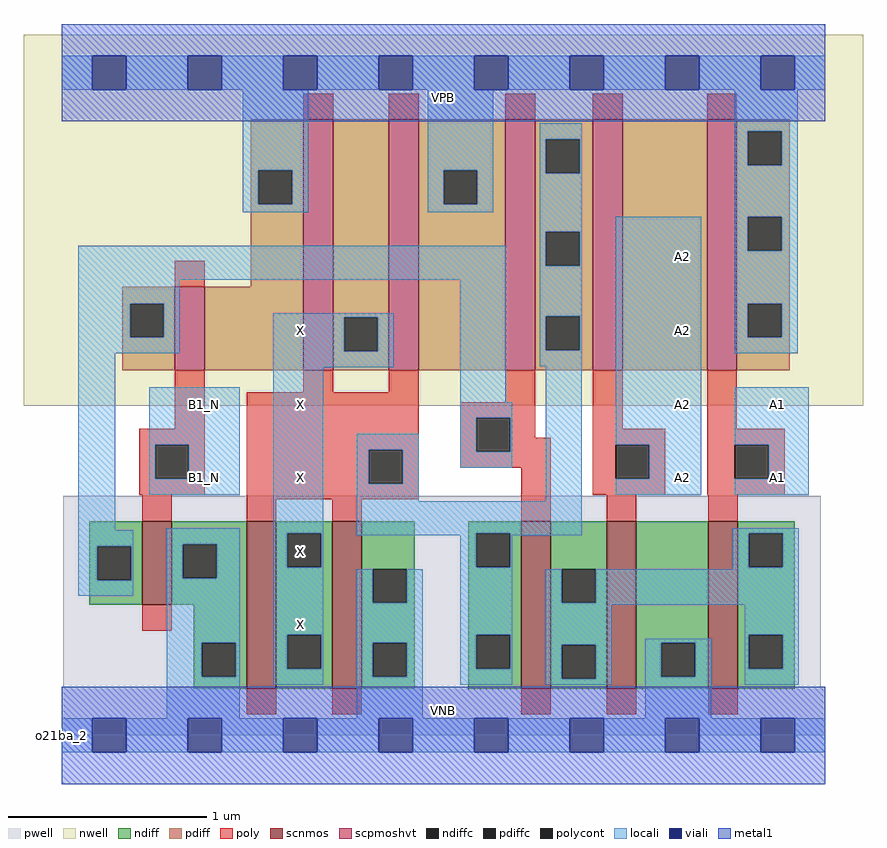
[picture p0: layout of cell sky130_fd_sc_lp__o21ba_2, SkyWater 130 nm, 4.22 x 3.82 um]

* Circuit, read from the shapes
.subckt sky130_fd_sc_lp__o21ba_2 A1 A2 B1_N VGND VNB VPB VPWR X
XM1 VGND B1_N n1 VNB sky130_fd_pr__nfet_01v8 w=0.42 l=0.15
XM2 X n2 VGND VNB sky130_fd_pr__nfet_01v8 w=0.84 l=0.15 m=2
XM3 n3 n1 n2 VNB sky130_fd_pr__nfet_01v8 w=0.84 l=0.15
XM4 VGND A2 n3 VNB sky130_fd_pr__nfet_01v8 w=0.84 l=0.15
XM5 n3 A1 VGND VNB sky130_fd_pr__nfet_01v8 w=0.84 l=0.15
XM6 VPWR B1_N n1 VPB sky130_fd_pr__pfet_01v8_hvt w=0.42 l=0.15
XM7 X n2 VPWR VPB sky130_fd_pr__pfet_01v8_hvt w=1.26 l=0.15 m=2
XM8 n2 n1 VPWR VPB sky130_fd_pr__pfet_01v8_hvt w=1.26 l=0.15
XM9 n4 A2 n2 VPB sky130_fd_pr__pfet_01v8_hvt w=1.26 l=0.15
XM10 VPWR A1 n4 VPB sky130_fd_pr__pfet_01v8_hvt w=1.26 l=0.15
.ends

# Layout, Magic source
magic
tech sky130A
magscale 1 2
<< nwell >>
rect -38 331 806 704
<< pwell >>
rect 2 49 763 241
rect 0 0 768 49
<< scnmos >>
rect 81 131 111 215
rect 186 47 216 215
rect 272 47 302 215
rect 462 47 492 215
rect 548 47 578 215
rect 650 47 680 215
<< scpmoshvt >>
rect 114 367 144 451
rect 243 367 273 619
rect 329 367 359 619
rect 446 367 476 619
rect 534 367 564 619
rect 649 367 679 619
<< ndiff >>
rect 28 190 81 215
rect 28 156 36 190
rect 70 156 81 190
rect 28 131 81 156
rect 111 192 186 215
rect 111 158 122 192
rect 156 158 186 192
rect 111 131 186 158
rect 133 93 186 131
rect 133 59 141 93
rect 175 59 186 93
rect 133 47 186 59
rect 216 203 272 215
rect 216 169 227 203
rect 261 169 272 203
rect 216 101 272 169
rect 216 67 227 101
rect 261 67 272 101
rect 216 47 272 67
rect 302 167 355 215
rect 302 133 313 167
rect 347 133 355 167
rect 302 93 355 133
rect 302 59 313 93
rect 347 59 355 93
rect 302 47 355 59
rect 409 203 462 215
rect 409 169 417 203
rect 451 169 462 203
rect 409 101 462 169
rect 409 67 417 101
rect 451 67 462 101
rect 409 47 462 67
rect 492 167 548 215
rect 492 133 503 167
rect 537 133 548 167
rect 492 91 548 133
rect 492 57 503 91
rect 537 57 548 91
rect 492 47 548 57
rect 578 93 650 215
rect 578 59 603 93
rect 637 59 650 93
rect 578 47 650 59
rect 680 203 737 215
rect 680 169 691 203
rect 725 169 737 203
rect 680 101 737 169
rect 680 67 691 101
rect 725 67 737 101
rect 680 47 737 67
<< pdiff >>
rect 190 568 243 619
rect 190 534 198 568
rect 232 534 243 568
rect 190 451 243 534
rect 61 434 114 451
rect 61 400 69 434
rect 103 400 114 434
rect 61 367 114 400
rect 144 367 243 451
rect 273 420 329 619
rect 273 386 284 420
rect 318 386 329 420
rect 273 367 329 386
rect 359 568 446 619
rect 359 534 384 568
rect 418 534 446 568
rect 359 367 446 534
rect 476 599 534 619
rect 476 565 487 599
rect 521 565 534 599
rect 476 506 534 565
rect 476 472 487 506
rect 521 472 534 506
rect 476 421 534 472
rect 476 387 487 421
rect 521 387 534 421
rect 476 367 534 387
rect 564 367 649 619
rect 679 607 732 619
rect 679 573 690 607
rect 724 573 732 607
rect 679 521 732 573
rect 679 487 690 521
rect 724 487 732 521
rect 679 434 732 487
rect 679 400 690 434
rect 724 400 732 434
rect 679 367 732 400
<< ndiffc >>
rect 36 156 70 190
rect 122 158 156 192
rect 141 59 175 93
rect 227 169 261 203
rect 227 67 261 101
rect 313 133 347 167
rect 313 59 347 93
rect 417 169 451 203
rect 417 67 451 101
rect 503 133 537 167
rect 503 57 537 91
rect 603 59 637 93
rect 691 169 725 203
rect 691 67 725 101
<< pdiffc >>
rect 198 534 232 568
rect 69 400 103 434
rect 284 386 318 420
rect 384 534 418 568
rect 487 565 521 599
rect 487 472 521 506
rect 487 387 521 421
rect 690 573 724 607
rect 690 487 724 521
rect 690 400 724 434
<< poly >>
rect 243 619 273 645
rect 329 619 359 645
rect 446 619 476 645
rect 534 619 564 645
rect 649 619 679 645
rect 114 451 144 477
rect 114 308 144 367
rect 243 345 273 367
rect 329 345 359 367
rect 78 292 144 308
rect 78 258 94 292
rect 128 258 144 292
rect 78 242 144 258
rect 186 287 359 345
rect 446 335 476 367
rect 186 253 309 287
rect 343 253 359 287
rect 401 319 476 335
rect 401 285 417 319
rect 451 299 476 319
rect 534 308 564 367
rect 649 308 679 367
rect 451 285 492 299
rect 401 269 492 285
rect 81 215 111 242
rect 186 237 359 253
rect 186 215 216 237
rect 272 215 302 237
rect 462 215 492 269
rect 534 292 607 308
rect 534 258 557 292
rect 591 258 607 292
rect 534 242 607 258
rect 649 292 727 308
rect 649 258 677 292
rect 711 258 727 292
rect 649 242 727 258
rect 548 215 578 242
rect 650 215 680 242
rect 81 105 111 131
rect 186 21 216 47
rect 272 21 302 47
rect 462 21 492 47
rect 548 21 578 47
rect 650 21 680 47
<< polycont >>
rect 94 258 128 292
rect 309 253 343 287
rect 417 285 451 319
rect 557 258 591 292
rect 677 258 711 292
<< locali >>
rect 0 649 31 683
rect 65 649 127 683
rect 161 649 223 683
rect 257 649 319 683
rect 353 649 415 683
rect 449 649 511 683
rect 545 649 607 683
rect 641 649 703 683
rect 737 649 768 683
rect 182 568 248 649
rect 182 534 198 568
rect 232 534 248 568
rect 182 526 248 534
rect 368 568 434 649
rect 368 534 384 568
rect 418 534 434 568
rect 368 526 434 534
rect 481 599 523 615
rect 481 565 487 599
rect 521 565 523 599
rect 481 506 523 565
rect 677 607 740 649
rect 677 573 690 607
rect 724 573 740 607
rect 677 521 740 573
rect 17 458 447 492
rect 17 434 119 458
rect 17 400 69 434
rect 103 400 119 434
rect 17 384 119 400
rect 213 420 334 424
rect 213 386 284 420
rect 318 386 334 420
rect 17 206 54 384
rect 213 370 334 386
rect 88 292 179 350
rect 88 258 94 292
rect 128 258 179 292
rect 88 242 179 258
rect 17 190 72 206
rect 17 156 36 190
rect 70 156 72 190
rect 17 140 72 156
rect 106 192 179 208
rect 106 158 122 192
rect 156 158 179 192
rect 106 93 179 158
rect 106 59 141 93
rect 175 59 179 93
rect 106 17 179 59
rect 213 203 263 370
rect 401 335 447 458
rect 481 472 487 506
rect 521 472 523 506
rect 481 421 523 472
rect 481 387 487 421
rect 521 387 523 421
rect 481 371 523 387
rect 401 319 453 335
rect 213 169 227 203
rect 261 169 263 203
rect 297 287 359 303
rect 297 253 309 287
rect 343 253 359 287
rect 401 285 417 319
rect 451 285 453 319
rect 401 269 453 285
rect 297 235 359 253
rect 487 235 523 371
rect 557 292 643 521
rect 677 487 690 521
rect 724 487 740 521
rect 677 434 740 487
rect 677 400 690 434
rect 724 400 740 434
rect 677 384 740 400
rect 591 258 643 292
rect 557 242 643 258
rect 677 292 751 350
rect 711 258 751 292
rect 677 242 751 258
rect 297 203 523 235
rect 297 201 417 203
rect 213 101 263 169
rect 401 169 417 201
rect 451 201 523 203
rect 675 203 741 208
rect 451 169 453 201
rect 213 67 227 101
rect 261 67 263 101
rect 213 51 263 67
rect 297 133 313 167
rect 347 133 363 167
rect 297 93 363 133
rect 297 59 313 93
rect 347 59 363 93
rect 297 17 363 59
rect 401 101 453 169
rect 675 169 691 203
rect 725 169 741 203
rect 675 167 741 169
rect 401 67 417 101
rect 451 67 453 101
rect 401 51 453 67
rect 487 133 503 167
rect 537 133 741 167
rect 487 131 741 133
rect 487 91 553 131
rect 687 101 741 131
rect 487 57 503 91
rect 537 57 553 91
rect 487 51 553 57
rect 587 93 653 97
rect 587 59 603 93
rect 637 59 653 93
rect 587 17 653 59
rect 687 67 691 101
rect 725 67 741 101
rect 687 51 741 67
rect 0 -17 31 17
rect 65 -17 127 17
rect 161 -17 223 17
rect 257 -17 319 17
rect 353 -17 415 17
rect 449 -17 511 17
rect 545 -17 607 17
rect 641 -17 703 17
rect 737 -17 768 17
<< viali >>
rect 31 649 65 683
rect 127 649 161 683
rect 223 649 257 683
rect 319 649 353 683
rect 415 649 449 683
rect 511 649 545 683
rect 607 649 641 683
rect 703 649 737 683
rect 31 -17 65 17
rect 127 -17 161 17
rect 223 -17 257 17
rect 319 -17 353 17
rect 415 -17 449 17
rect 511 -17 545 17
rect 607 -17 641 17
rect 703 -17 737 17
<< metal1 >>
rect 0 683 768 715
rect 0 649 31 683
rect 65 649 127 683
rect 161 649 223 683
rect 257 649 319 683
rect 353 649 415 683
rect 449 649 511 683
rect 545 649 607 683
rect 641 649 703 683
rect 737 649 768 683
rect 0 617 768 649
rect 0 17 768 49
rect 0 -17 31 17
rect 65 -17 127 17
rect 161 -17 223 17
rect 257 -17 319 17
rect 353 -17 415 17
rect 449 -17 511 17
rect 545 -17 607 17
rect 641 -17 703 17
rect 737 -17 768 17
rect 0 -49 768 -17
<< labels >>
flabel pwell s 0 0 768 49 0 FreeSans 200 0 0 0 VNB
port 5 nsew ground bidirectional
flabel nwell s 0 617 768 666 0 FreeSans 200 0 0 0 VPB
port 6 nsew power bidirectional
rlabel comment s 0 0 0 0 4 o21ba_2
flabel metal1 s 0 617 768 666 0 FreeSans 340 0 0 0 VPWR
port 7 nsew power bidirectional
flabel metal1 s 0 0 768 49 0 FreeSans 340 0 0 0 VGND
port 4 nsew ground bidirectional
flabel locali s 703 242 737 276 0 FreeSans 340 0 0 0 A1
port 1 nsew signal input
flabel locali s 703 316 737 350 0 FreeSans 340 0 0 0 A1
port 1 nsew signal input
flabel locali s 607 242 641 276 0 FreeSans 340 0 0 0 A2
port 2 nsew signal input
flabel locali s 607 316 641 350 0 FreeSans 340 0 0 0 A2
port 2 nsew signal input
flabel locali s 607 390 641 424 0 FreeSans 340 0 0 0 A2
port 2 nsew signal input
flabel locali s 607 464 641 498 0 FreeSans 340 0 0 0 A2
port 2 nsew signal input
flabel locali s 127 242 161 276 0 FreeSans 340 0 0 0 B1_N
port 3 nsew signal input
flabel locali s 127 316 161 350 0 FreeSans 340 0 0 0 B1_N
port 3 nsew signal input
flabel locali s 223 94 257 128 0 FreeSans 340 0 0 0 X
port 8 nsew signal output
flabel locali s 223 168 257 202 0 FreeSans 340 0 0 0 X
port 8 nsew signal output
flabel locali s 223 242 257 276 0 FreeSans 340 0 0 0 X
port 8 nsew signal output
flabel locali s 223 316 257 350 0 FreeSans 340 0 0 0 X
port 8 nsew signal output
flabel locali s 223 390 257 424 0 FreeSans 340 0 0 0 X
port 8 nsew signal output
<< properties >>
string LEFsite unit
string LEFclass CORE
string FIXED_BBOX 0 0 768 666
string GDS_FILE $PDKPATH/libs.ref/sky130_fd_sc_lp/gds/sky130_fd_sc_lp.gds
string LEFsymmetry X Y R90
string GDS_END 6549682
string GDS_START 6542026
<< end >>
